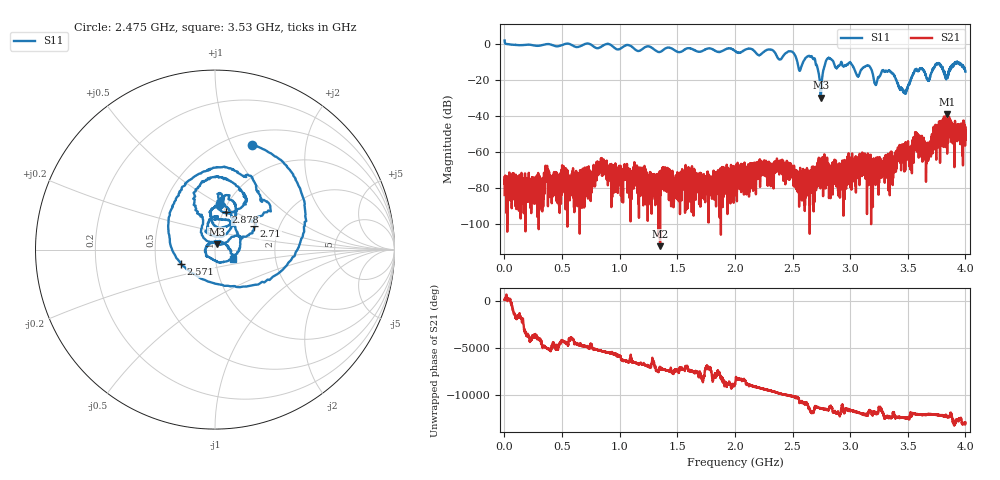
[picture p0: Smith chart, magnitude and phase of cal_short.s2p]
!Created with skrf (http://scikit-rf.org).
# GHz S RI R 50.0
!freq ReS11 ImS11 ReS21 ImS21 ReS12 ImS12 ReS22 ImS22
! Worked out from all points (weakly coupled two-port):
!   4000 points, 1 MHz to 4 GHz, reference 50 ohm
!   highest |S21| = -39.13 dB at 3.843 GHz (marker M1); lowest = -112.5 dB at 1.35 GHz (marker M2)
!   lowest |S11| = -29.9 dB at 2.744 GHz (marker M3), VSWR 1.07, Z = 50.9 + j3.09 ohm
!   |S11| at or under -10 dB: 2.698 GHz to 2.787 GHz (88.5 MHz wide, 3.23 % of centre); 2.924 GHz to 3.927 GHz (1.003 GHz wide, 29.3 % of centre); 3.93 GHz to end of sweep (the widest 3 of 6)
!   S12 and S22 are empty: the file has one direction only
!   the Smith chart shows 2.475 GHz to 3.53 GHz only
!   S11 on the Smith chart (normalised r, x): 2.475 GHz: 0.63, +1.20; 2.571 GHz: 0.67, -0.11; 2.71 GHz: 1.49, +0.41; 2.878 GHz: 1.03, +0.45; 3.53 GHz: 1.21, -0.12
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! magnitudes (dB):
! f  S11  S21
! 1 MHz  1.9  -84.1
! 668 MHz  -1.0  -73.9
! 839 MHz  -1.7  -68.4
! 1.334 GHz  -4.5  -85.4
! 1.35 GHz  -4.5  -112.5
! 2.001 GHz  -4.0  -73.7
! 2.475 GHz  -4.1  -75.5
! 2.571 GHz  -13.7  -73.1
! 2.667 GHz  -6.9  -72.5
! 2.71 GHz  -11.9  -69.8
! 2.744 GHz  -29.9  -69.5
! 2.805 GHz  -8.1  -69.4
! 2.878 GHz  -13.3  -77.1
! 3.156 GHz  -12.0  -63.2
! 3.222 GHz  -22.9  -67.8
! 3.334 GHz  -14.8  -62.7
! 3.467 GHz  -26.4  -66.7
! 3.53 GHz  -19.1  -56.6
! 3.671 GHz  -19.4  -55.0
! 3.759 GHz  -11.2  -46.8
! 3.843 GHz  -17.5  -39.1
! 4 GHz  -15.4  -53.3
